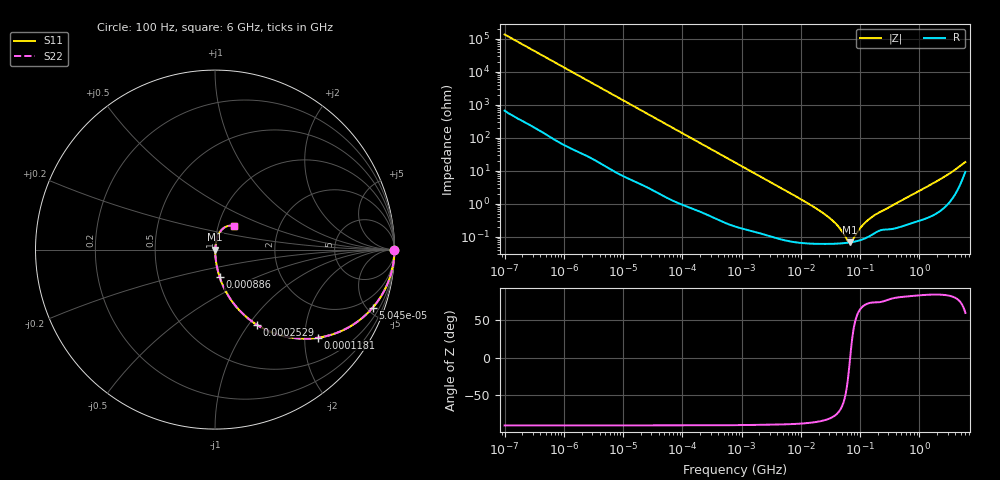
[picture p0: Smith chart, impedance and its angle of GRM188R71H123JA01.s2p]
!Murata Part Number: GRM188R71H123JA01
!These Parameters are Measured in Series Mode Connection
!Data Generated on Mar 30, 2021
!  o--ll--o
!Port1  Port2
!  o------o
!Operation Temp=25[degC], DC Bias Voltage=0[V]
!Freq. Start=100[Hz] Stop=6[GHz] 401[Steps]
# Hz S RI R 50
!Freq.(Hz) S11(Real) S11(Imag) S21(Real) S21(Imag) S12(Real) S12(Imag) S22(Real) S22(Imag)
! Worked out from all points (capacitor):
!   401 points, 100 Hz to 6 GHz, reference 50 ohm
!   read as one part in series: C = 11.8 nF near 109 Hz
!   lowest |Z| = 67.9 mohm at 68.17 MHz (marker M1)
!   series resonance near 68.01 MHz, so ESL is about 460 pH
!   S11 on the Smith chart (normalised r, x): 100 Hz: open; 50.45 kHz: 1.03, -5.44; 118.1 kHz: 1.02, -2.33; 252.9 kHz: 1.01, -1.09; 886 kHz: 1.00, -0.31; 6 GHz: 1.19, +0.32
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100  1 -0.000743  4.2e-06 0.000743  4.2e-06 0.000743  1 -0.000743
2008  0.9997 -0.0148  0.000292 0.0148  0.000292 0.0148  0.9997 -0.0148
12041  0.9918 -0.0875  0.00817 0.0875  0.00817 0.0875  0.9918 -0.0875
40335  0.919 -0.2699  0.081 0.2699  0.081 0.2699  0.919 -0.2699
50455  0.8794 -0.3227  0.1206 0.3227  0.1206 0.3227  0.8794 -0.3227
118133  0.5751 -0.4908  0.4249 0.4908  0.4249 0.4908  0.5751 -0.4908
252896  0.2317 -0.4175  0.7683 0.4175  0.7683 0.4175  0.2317 -0.4175
413847  0.1029 -0.2991  0.8971 0.2991  0.8971 0.2991  0.1029 -0.2991
774597  0.033 -0.1729  0.967 0.1729  0.967 0.1729  0.033 -0.1729
885955  0.0258 -0.1524  0.9742 0.1524  0.9742 0.1524  0.0258 -0.1524
2713602  0.00374 -0.0513  0.9963 0.0513  0.9963 0.0513  0.00374 -0.0513
1.555665e7  0.000694 -0.00859  0.9993 0.00859  0.9993 0.00859  0.000694 -0.00859
3.482834e7  0.000625 -0.00299  0.9994 0.00299  0.9994 0.00299  0.000625 -0.00299
4.556224e7  0.000633 -0.00171  0.9994 0.00171  0.9994 0.00171  0.000633 -0.00171
6.233367e7  0.000664 -0.000361  0.9993 0.000361  0.9993 0.000361  0.000664 -0.000361
6.817316e7  0.000679 1.01e-05  0.9993 -1.01e-05  0.9993 -1.01e-05  0.000679 1.01e-05
7.455971e7  0.000697 0.000381  0.9993 -0.000381  0.9993 -0.000381  0.000697 0.000381
1.066761e8  0.000824 0.00192  0.9992 -0.00192  0.9992 -0.00192  0.000824 0.00192
1.334425e8  0.00098 0.00296  0.999 -0.00296  0.999 -0.00296  0.00098 0.00296
3.124326e8  0.00175 0.00771  0.9983 -0.00771  0.9983 -0.00771  0.00175 0.00771
3.065283e9  0.0156 0.0753  0.9844 -0.0753  0.9844 -0.0753  0.0156 0.0753
6e9  0.1042 0.1299  0.8958 -0.1299  0.8958 -0.1299  0.1042 0.1299
